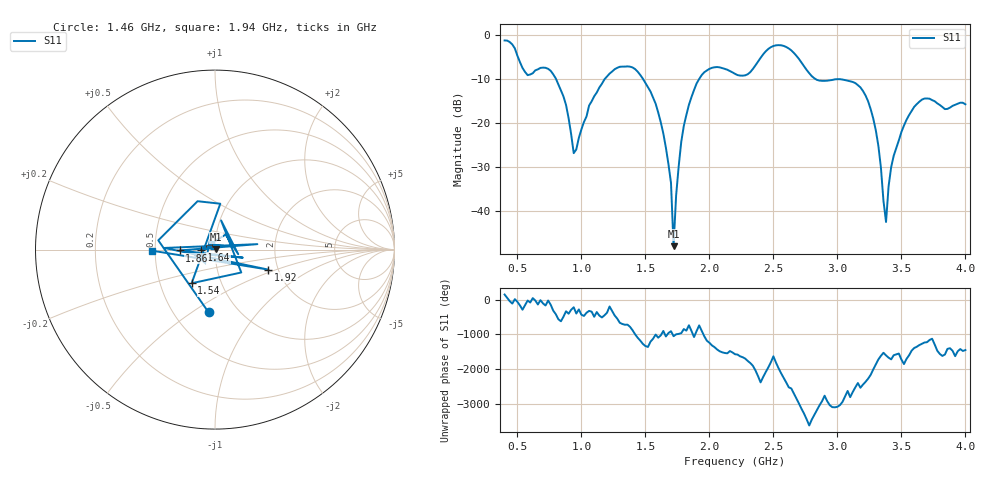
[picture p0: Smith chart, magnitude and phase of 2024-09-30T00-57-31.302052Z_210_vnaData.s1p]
!Created with skrf (http://scikit-rf.org).
# Hz S RI R 50.0
!freq ReS11 ImS11
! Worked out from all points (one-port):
!   181 points, 400 MHz to 4 GHz, reference 50 ohm
!   lowest |S11| = -48.0 dB at 1.72 GHz (marker M1), VSWR 1.01, Z = 50.3 + j0.206 ohm
!   |S11| at or under -10 dB: 802.2 MHz to 1.182 GHz (379.7 MHz wide, 38.3 % of centre); 1.482 GHz to 1.919 GHz (437.2 MHz wide, 25.7 % of centre); 2.83 GHz to end of sweep
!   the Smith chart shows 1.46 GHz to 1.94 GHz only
!   S11 on the Smith chart (normalised r, x): 1.46 GHz: 0.73, -0.59; 1.54 GHz: 0.72, -0.29; 1.64 GHz: 0.86, -0.00; 1.86 GHz: 0.67, -0.01; 1.92 GHz: 1.77, -0.44; 1.94 GHz: 0.48, -0.01
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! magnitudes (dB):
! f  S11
! 400 MHz  -1.2
! 580 MHz  -9.1
! 760 MHz  -8.1
! 860 MHz  -14.0
! 940 MHz  -26.8
! 1.06 GHz  -16.0
! 1.3 GHz  -7.2
! 1.46 GHz  -9.1
! 1.54 GHz  -12.8
! 1.64 GHz  -22.4
! 1.7 GHz  -33.6
! 1.72 GHz  -48.0
! 1.76 GHz  -29.8
! 1.86 GHz  -14.1
! 1.92 GHz  -10.0
! 1.94 GHz  -9.1
! 2.2 GHz  -8.8
! 2.5 GHz  -2.5
! 2.66 GHz  -4.0
! 2.84 GHz  -10.2
! 3.1 GHz  -10.5
! 3.28 GHz  -19.0
! 3.32 GHz  -25.1
! 3.38 GHz  -42.5
! 3.42 GHz  -30.0
! 3.56 GHz  -18.2
! 3.68 GHz  -14.4
! 4 GHz  -15.7
